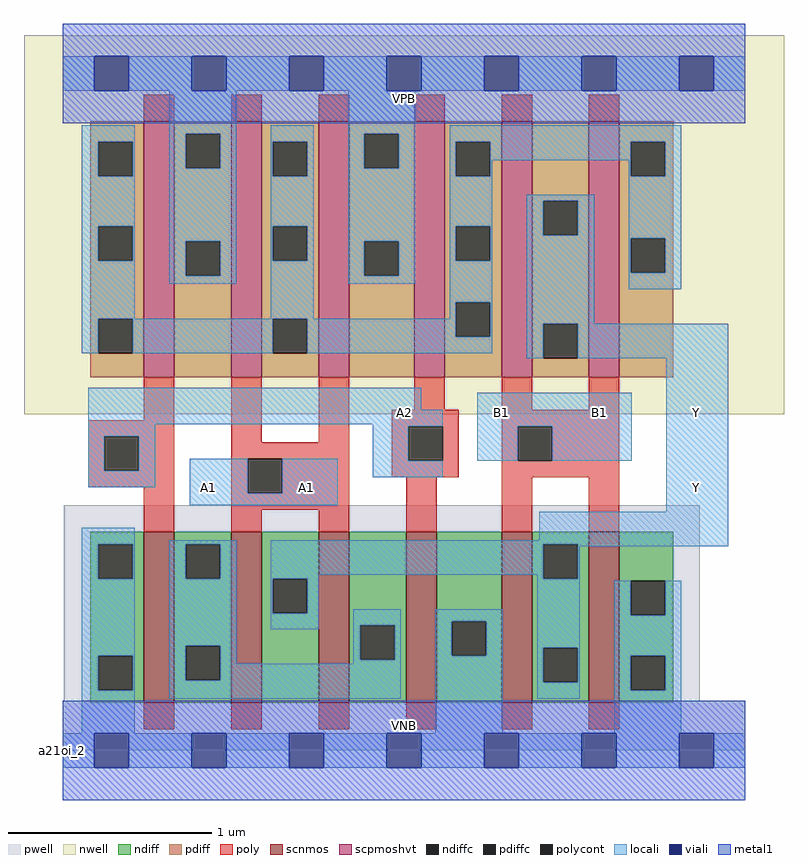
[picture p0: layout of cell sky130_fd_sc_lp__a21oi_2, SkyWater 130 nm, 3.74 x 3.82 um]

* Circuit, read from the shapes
.subckt sky130_fd_sc_lp__a21oi_2 A1 A2 B1 VGND VNB VPB VPWR Y
XM1 n1 A2 VGND VNB sky130_fd_pr__nfet_01v8 w=0.84 l=0.15 m=2
XM2 Y A1 n1 VNB sky130_fd_pr__nfet_01v8 w=0.84 l=0.15 m=2
XM3 Y B1 VGND VNB sky130_fd_pr__nfet_01v8 w=0.84 l=0.15 m=2
XM4 VPWR A2 n2 VPB sky130_fd_pr__pfet_01v8_hvt w=1.26 l=0.15 m=2
XM5 n2 A1 VPWR VPB sky130_fd_pr__pfet_01v8_hvt w=1.26 l=0.15 m=2
XM6 Y B1 n2 VPB sky130_fd_pr__pfet_01v8_hvt w=1.26 l=0.15 m=2
.ends

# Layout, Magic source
magic
tech sky130A
magscale 1 2
<< nwell >>
rect -38 331 710 704
<< pwell >>
rect 1 49 627 241
rect 0 0 672 49
<< scnmos >>
rect 80 47 110 215
rect 166 47 196 215
rect 252 47 282 215
rect 338 47 368 215
rect 432 47 462 215
rect 518 47 548 215
<< scpmoshvt >>
rect 80 367 110 619
rect 166 367 196 619
rect 252 367 282 619
rect 346 367 376 619
rect 432 367 462 619
rect 518 367 548 619
<< ndiff >>
rect 27 203 80 215
rect 27 169 35 203
rect 69 169 80 203
rect 27 93 80 169
rect 27 59 35 93
rect 69 59 80 93
rect 27 47 80 59
rect 110 203 166 215
rect 110 169 121 203
rect 155 169 166 203
rect 110 103 166 169
rect 110 69 121 103
rect 155 69 166 103
rect 110 47 166 69
rect 196 169 252 215
rect 196 135 207 169
rect 241 135 252 169
rect 196 47 252 135
rect 282 123 338 215
rect 282 89 293 123
rect 327 89 338 123
rect 282 47 338 89
rect 368 127 432 215
rect 368 93 383 127
rect 417 93 432 127
rect 368 47 432 93
rect 462 203 518 215
rect 462 169 473 203
rect 507 169 518 203
rect 462 101 518 169
rect 462 67 473 101
rect 507 67 518 101
rect 462 47 518 67
rect 548 167 601 215
rect 548 133 559 167
rect 593 133 601 167
rect 548 93 601 133
rect 548 59 559 93
rect 593 59 601 93
rect 548 47 601 59
<< pdiff >>
rect 27 599 80 619
rect 27 565 35 599
rect 69 565 80 599
rect 27 516 80 565
rect 27 482 35 516
rect 69 482 80 516
rect 27 425 80 482
rect 27 391 35 425
rect 69 391 80 425
rect 27 367 80 391
rect 110 607 166 619
rect 110 573 121 607
rect 155 573 166 607
rect 110 501 166 573
rect 110 467 121 501
rect 155 467 166 501
rect 110 367 166 467
rect 196 599 252 619
rect 196 565 207 599
rect 241 565 252 599
rect 196 516 252 565
rect 196 482 207 516
rect 241 482 252 516
rect 196 425 252 482
rect 196 391 207 425
rect 241 391 252 425
rect 196 367 252 391
rect 282 607 346 619
rect 282 573 297 607
rect 331 573 346 607
rect 282 501 346 573
rect 282 467 297 501
rect 331 467 346 501
rect 282 367 346 467
rect 376 599 432 619
rect 376 565 387 599
rect 421 565 432 599
rect 376 516 432 565
rect 376 482 387 516
rect 421 482 432 516
rect 376 441 432 482
rect 376 407 387 441
rect 421 407 432 441
rect 376 367 432 407
rect 462 541 518 619
rect 462 507 473 541
rect 507 507 518 541
rect 462 420 518 507
rect 462 386 473 420
rect 507 386 518 420
rect 462 367 518 386
rect 548 599 601 619
rect 548 565 559 599
rect 593 565 601 599
rect 548 504 601 565
rect 548 470 559 504
rect 593 470 601 504
rect 548 367 601 470
<< ndiffc >>
rect 35 169 69 203
rect 35 59 69 93
rect 121 169 155 203
rect 121 69 155 103
rect 207 135 241 169
rect 293 89 327 123
rect 383 93 417 127
rect 473 169 507 203
rect 473 67 507 101
rect 559 133 593 167
rect 559 59 593 93
<< pdiffc >>
rect 35 565 69 599
rect 35 482 69 516
rect 35 391 69 425
rect 121 573 155 607
rect 121 467 155 501
rect 207 565 241 599
rect 207 482 241 516
rect 207 391 241 425
rect 297 573 331 607
rect 297 467 331 501
rect 387 565 421 599
rect 387 482 421 516
rect 387 407 421 441
rect 473 507 507 541
rect 473 386 507 420
rect 559 565 593 599
rect 559 470 593 504
<< poly >>
rect 80 619 110 645
rect 166 619 196 645
rect 252 619 282 645
rect 346 619 376 645
rect 432 619 462 645
rect 518 619 548 645
rect 80 325 110 367
rect 25 309 110 325
rect 25 275 41 309
rect 75 275 110 309
rect 25 259 110 275
rect 80 215 110 259
rect 166 303 196 367
rect 252 303 282 367
rect 346 335 376 367
rect 432 335 462 367
rect 518 335 548 367
rect 166 287 282 303
rect 166 253 182 287
rect 216 253 282 287
rect 324 319 390 335
rect 324 285 340 319
rect 374 285 390 319
rect 324 269 390 285
rect 432 319 548 335
rect 432 285 448 319
rect 482 285 548 319
rect 432 269 548 285
rect 166 237 282 253
rect 166 215 196 237
rect 252 215 282 237
rect 338 215 368 269
rect 432 215 462 269
rect 518 215 548 269
rect 80 21 110 47
rect 166 21 196 47
rect 252 21 282 47
rect 338 21 368 47
rect 432 21 462 47
rect 518 21 548 47
<< polycont >>
rect 41 275 75 309
rect 182 253 216 287
rect 340 285 374 319
rect 448 285 482 319
<< locali >>
rect 0 649 31 683
rect 65 649 127 683
rect 161 649 223 683
rect 257 649 319 683
rect 353 649 415 683
rect 449 649 511 683
rect 545 649 607 683
rect 641 649 672 683
rect 19 599 71 615
rect 19 565 35 599
rect 69 565 71 599
rect 19 516 71 565
rect 19 482 35 516
rect 69 482 71 516
rect 19 425 71 482
rect 105 607 171 649
rect 105 573 121 607
rect 155 573 171 607
rect 105 501 171 573
rect 105 467 121 501
rect 155 467 171 501
rect 105 459 171 467
rect 205 599 247 615
rect 205 565 207 599
rect 241 565 247 599
rect 205 516 247 565
rect 205 482 207 516
rect 241 482 247 516
rect 205 425 247 482
rect 281 607 347 649
rect 281 573 297 607
rect 331 573 347 607
rect 281 501 347 573
rect 281 467 297 501
rect 331 467 347 501
rect 281 459 347 467
rect 381 599 609 615
rect 381 565 387 599
rect 421 581 559 599
rect 421 565 423 581
rect 381 516 423 565
rect 557 565 559 581
rect 593 565 609 599
rect 381 482 387 516
rect 421 482 423 516
rect 381 441 423 482
rect 381 425 387 441
rect 19 391 35 425
rect 69 391 207 425
rect 241 407 387 425
rect 421 407 423 441
rect 241 391 423 407
rect 457 541 523 547
rect 457 507 473 541
rect 507 507 523 541
rect 457 420 523 507
rect 557 504 609 565
rect 557 470 559 504
rect 593 470 609 504
rect 557 454 609 470
rect 457 386 473 420
rect 507 386 655 420
rect 25 335 353 357
rect 25 321 374 335
rect 25 309 91 321
rect 25 275 41 309
rect 75 275 91 309
rect 305 319 374 321
rect 25 259 91 275
rect 125 253 182 287
rect 216 253 271 287
rect 305 285 340 319
rect 408 319 560 352
rect 408 285 448 319
rect 482 285 560 319
rect 305 269 374 285
rect 125 241 271 253
rect 594 235 655 386
rect 19 203 71 219
rect 469 207 655 235
rect 19 169 35 203
rect 69 169 71 203
rect 19 93 71 169
rect 19 59 35 93
rect 69 59 71 93
rect 19 17 71 59
rect 105 203 171 207
rect 105 169 121 203
rect 155 169 171 203
rect 105 103 171 169
rect 205 203 655 207
rect 205 173 473 203
rect 205 169 252 173
rect 205 135 207 169
rect 241 135 252 169
rect 467 169 473 173
rect 507 201 655 203
rect 507 169 509 201
rect 205 119 252 135
rect 286 123 333 139
rect 105 69 121 103
rect 155 85 171 103
rect 286 89 293 123
rect 327 89 333 123
rect 286 85 333 89
rect 155 69 333 85
rect 105 51 333 69
rect 367 127 433 139
rect 367 93 383 127
rect 417 93 433 127
rect 367 17 433 93
rect 467 101 509 169
rect 467 67 473 101
rect 507 67 509 101
rect 467 51 509 67
rect 543 133 559 167
rect 593 133 609 167
rect 543 93 609 133
rect 543 59 559 93
rect 593 59 609 93
rect 543 17 609 59
rect 0 -17 31 17
rect 65 -17 127 17
rect 161 -17 223 17
rect 257 -17 319 17
rect 353 -17 415 17
rect 449 -17 511 17
rect 545 -17 607 17
rect 641 -17 672 17
<< viali >>
rect 31 649 65 683
rect 127 649 161 683
rect 223 649 257 683
rect 319 649 353 683
rect 415 649 449 683
rect 511 649 545 683
rect 607 649 641 683
rect 31 -17 65 17
rect 127 -17 161 17
rect 223 -17 257 17
rect 319 -17 353 17
rect 415 -17 449 17
rect 511 -17 545 17
rect 607 -17 641 17
<< metal1 >>
rect 0 683 672 715
rect 0 649 31 683
rect 65 649 127 683
rect 161 649 223 683
rect 257 649 319 683
rect 353 649 415 683
rect 449 649 511 683
rect 545 649 607 683
rect 641 649 672 683
rect 0 617 672 649
rect 0 17 672 49
rect 0 -17 31 17
rect 65 -17 127 17
rect 161 -17 223 17
rect 257 -17 319 17
rect 353 -17 415 17
rect 449 -17 511 17
rect 545 -17 607 17
rect 641 -17 672 17
rect 0 -49 672 -17
<< labels >>
flabel pwell s 0 0 672 49 0 FreeSans 200 0 0 0 VNB
port 5 nsew ground bidirectional
flabel nwell s 0 617 672 666 0 FreeSans 200 0 0 0 VPB
port 6 nsew power bidirectional
rlabel comment s 0 0 0 0 4 a21oi_2
flabel metal1 s 0 617 672 666 0 FreeSans 340 0 0 0 VPWR
port 7 nsew power bidirectional
flabel metal1 s 0 0 672 49 0 FreeSans 340 0 0 0 VGND
port 4 nsew ground bidirectional
flabel locali s 607 242 641 276 0 FreeSans 340 0 0 0 Y
port 8 nsew signal output
flabel locali s 127 242 161 276 0 FreeSans 340 0 0 0 A1
port 1 nsew signal input
flabel locali s 223 242 257 276 0 FreeSans 340 0 0 0 A1
port 1 nsew signal input
flabel locali s 415 316 449 350 0 FreeSans 340 0 0 0 B1
port 3 nsew signal input
flabel locali s 511 316 545 350 0 FreeSans 340 0 0 0 B1
port 3 nsew signal input
flabel locali s 319 316 353 350 0 FreeSans 340 0 0 0 A2
port 2 nsew signal input
flabel locali s 607 316 641 350 0 FreeSans 340 0 0 0 Y
port 8 nsew signal output
<< properties >>
string LEFsite unit
string LEFclass CORE
string FIXED_BBOX 0 0 672 666
string GDS_FILE $PDKPATH/libs.ref/sky130_fd_sc_lp/gds/sky130_fd_sc_lp.gds
string LEFsymmetry X Y R90
string GDS_END 3596356
string GDS_START 3589732
<< end >>
